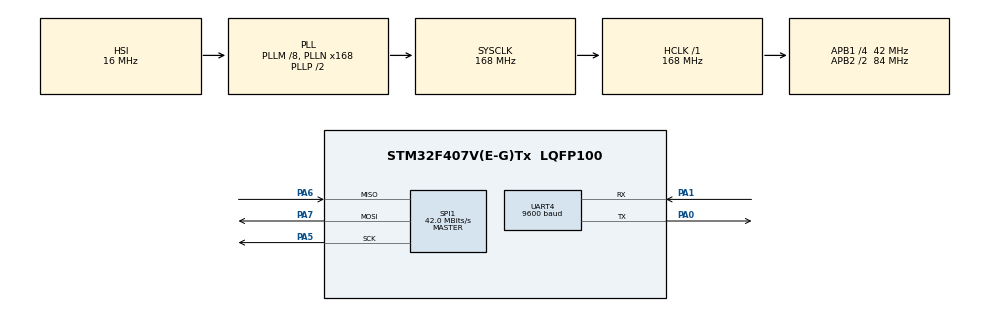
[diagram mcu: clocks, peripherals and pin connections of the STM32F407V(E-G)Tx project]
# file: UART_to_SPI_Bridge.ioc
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FREERTOS.Queues01=UARTRxQueue,10,msg_t*,0,Dynamic,NULL,NULL;SPIRxQueue,10,msg_t*,0,Dynamic,NULL,NULL
FREERTOS.Tasks01=defaultTask,0,128,StartDefaultTask,Default,NULL,Dynamic,NULL,NULL;UARTHandlerTask,0,256,StartUARTHandlerTask,Default,NULL,Dynamic,NULL,NULL;SPIHandlerTask,0,256,StartSPIHandlerTask,Default,NULL,Dynamic,NULL,NULL
FREERTOS.configUSE_NEWLIB_REENTRANT=1
Mcu.Family=STM32F4
Mcu.Name=STM32F407V(E-G)Tx
Mcu.Package=LQFP100
NVIC.PriorityGroup=NVIC_PRIORITYGROUP_4
NVIC.SPI1_IRQn=true\:5\:0\:false\:false\:true\:true\:true\:true\:true
NVIC.TIM6_DAC_IRQn=true\:15\:0\:false\:false\:true\:false\:false\:true\:true
NVIC.TimeBase=TIM6_DAC_IRQn
NVIC.TimeBaseIP=TIM6
NVIC.UART4_IRQn=true\:5\:0\:false\:false\:true\:true\:true\:true\:true
PA0-WKUP.Mode=Asynchronous
PA0-WKUP.Signal=UART4_TX
PA1.Mode=Asynchronous
PA1.Signal=UART4_RX
PA13.Mode=Serial_Wire
PA13.Signal=SYS_JTMS-SWDIO
PA14.Mode=Serial_Wire
PA14.Signal=SYS_JTCK-SWCLK
PA5.Mode=Full_Duplex_Master
PA5.Signal=SPI1_SCK
PA6.Mode=Full_Duplex_Master
PA6.Signal=SPI1_MISO
PA7.Mode=Full_Duplex_Master
PA7.Signal=SPI1_MOSI
ProjectManager.HeapSize=0x2000
ProjectManager.StackSize=0x4000
ProjectManager.TargetToolchain=STM32CubeIDE
RCC.48MHZClocksFreq_Value=84000000
RCC.AHBFreq_Value=168000000
RCC.APB1CLKDivider=RCC_HCLK_DIV4
RCC.APB1Freq_Value=42000000
RCC.APB1TimFreq_Value=84000000
RCC.APB2CLKDivider=RCC_HCLK_DIV2
RCC.APB2Freq_Value=84000000
RCC.APB2TimFreq_Value=168000000
RCC.CortexFreq_Value=168000000
RCC.HCLKFreq_Value=168000000
RCC.HSE_VALUE=25000000
RCC.HSI_VALUE=16000000
RCC.LSE_VALUE=32768
RCC.PLLM=8
RCC.PLLN=168
RCC.SYSCLKFreq_VALUE=168000000
RCC.SYSCLKSource=RCC_SYSCLKSOURCE_PLLCLK
RCC.VCOOutputFreq_Value=336000000
SPI1.CalculateBaudRate=42.0 MBits/s
SPI1.Direction=SPI_DIRECTION_2LINES
SPI1.Mode=SPI_MODE_MASTER
SPI1.VirtualType=VM_MASTER
UART4.BaudRate=9600
UART4.VirtualMode=Asynchronous
VP_FREERTOS_VS_CMSIS_V1.Mode=CMSIS_V1
VP_SYS_VS_tim6.Mode=TIM6
board=custom

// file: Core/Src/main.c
/* USER CODE BEGIN Header */
/**
  ******************************************************************************
  * @file           : main.c
  * @brief          : Main program body
  ******************************************************************************
  * @attention
  *
  * Copyright (c) 2024 STMicroelectronics.
  * All rights reserved.
  *
  * This software is licensed under terms that can be found in the LICENSE file
  * in the root directory of this software component.
  * If no LICENSE file comes with this software, it is provided AS-IS.
  *
  ******************************************************************************
  */
/* USER CODE END Header */
#include "main.h"
#include "cmsis_os.h"
#include "spi.h"
#include "usart.h"
#include "gpio.h"

/* USER CODE BEGIN Includes */

#include "bridge.h"

/* USER CODE END Includes */

/* USER CODE BEGIN PV */

bridge_t Bridge;

/* USER CODE END PV */

void SystemClock_Config(void);
void MX_FREERTOS_Init(void);

int main(void)
{

  /* MCU Configuration--------------------------------------------------------*/

  /* Reset of all peripherals, Initializes the Flash interface and the Systick. */
  HAL_Init();

  /* Configure the system clock */
  SystemClock_Config();

  /* Initialize all configured peripherals */
  MX_GPIO_Init();
  MX_SPI1_Init();
  MX_UART4_Init();
  /* USER CODE BEGIN 2 */

  bridgeInit(&Bridge, 5000);

  HAL_UART_Receive_IT(&huart4, Bridge.uart_rx_msg->data, 1);
  HAL_SPI_TransmitReceive_IT(&hspi1, Bridge.spi_tx_msg->data, Bridge.spi_rx_msg->data, 1);

  /* USER CODE END 2 */

  /* Call init function for freertos objects (in freertos.c) */
  MX_FREERTOS_Init();

  /* Start scheduler */
  osKernelStart();

  /* We should never get here as control is now taken by the scheduler */
  /* Infinite loop */
  while (1)
  {

  }
}

void SystemClock_Config(void)
{
  RCC_OscInitTypeDef RCC_OscInitStruct = {0};
  RCC_ClkInitTypeDef RCC_ClkInitStruct = {0};

  /** Configure the main internal regulator output voltage
  */
  __HAL_RCC_PWR_CLK_ENABLE();
  __HAL_PWR_VOLTAGESCALING_CONFIG(PWR_REGULATOR_VOLTAGE_SCALE1);

  /** Initializes the RCC Oscillators according to the specified parameters
  * in the RCC_OscInitTypeDef structure.
  */
  RCC_OscInitStruct.OscillatorType = RCC_OSCILLATORTYPE_HSI;
  RCC_OscInitStruct.HSIState = RCC_HSI_ON;
  RCC_OscInitStruct.HSICalibrationValue = RCC_HSICALIBRATION_DEFAULT;
  RCC_OscInitStruct.PLL.PLLState = RCC_PLL_ON;
  RCC_OscInitStruct.PLL.PLLSource = RCC_PLLSOURCE_HSI;
  RCC_OscInitStruct.PLL.PLLM = 8;
  RCC_OscInitStruct.PLL.PLLN = 168;
  RCC_OscInitStruct.PLL.PLLP = RCC_PLLP_DIV2;
  RCC_OscInitStruct.PLL.PLLQ = 4;
  if (HAL_RCC_OscConfig(&RCC_OscInitStruct) != HAL_OK)
  {
    Error_Handler();
  }

  /** Initializes the CPU, AHB and APB buses clocks
  */
  RCC_ClkInitStruct.ClockType = RCC_CLOCKTYPE_HCLK|RCC_CLOCKTYPE_SYSCLK
                              |RCC_CLOCKTYPE_PCLK1|RCC_CLOCKTYPE_PCLK2;
  RCC_ClkInitStruct.SYSCLKSource = RCC_SYSCLKSOURCE_PLLCLK;
  RCC_ClkInitStruct.AHBCLKDivider = RCC_SYSCLK_DIV1;
  RCC_ClkInitStruct.APB1CLKDivider = RCC_HCLK_DIV4;
  RCC_ClkInitStruct.APB2CLKDivider = RCC_HCLK_DIV2;

  if (HAL_RCC_ClockConfig(&RCC_ClkInitStruct, FLASH_LATENCY_5) != HAL_OK)
  {
    Error_Handler();
  }
}

void HAL_TIM_PeriodElapsedCallback(TIM_HandleTypeDef *htim)
{
  if (htim->Instance == TIM6) {
    HAL_IncTick();
  }
}

void Error_Handler(void)
{
  __disable_irq();
  while (1)
  {
  }
}

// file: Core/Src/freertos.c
/* USER CODE BEGIN Header */
/**
  ******************************************************************************
  * File Name          : freertos.c
  * Description        : Code for freertos applications
  ******************************************************************************
  * @attention
  *
  * Copyright (c) 2024 STMicroelectronics.
  * All rights reserved.
  *
  * This software is licensed under terms that can be found in the LICENSE file
  * in the root directory of this software component.
  * If no LICENSE file comes with this software, it is provided AS-IS.
  *
  ******************************************************************************
  */
/* USER CODE END Header */

#include "FreeRTOS.h"
#include "task.h"
#include "main.h"
#include "cmsis_os.h"

/* USER CODE BEGIN Includes */

#include "bridge.h"

/* USER CODE END Includes */

/* USER CODE BEGIN PTD */

extern bridge_t Bridge;
extern UART_HandleTypeDef huart4;
extern SPI_HandleTypeDef hspi1;

/* USER CODE END PTD */

osThreadId defaultTaskHandle;
osThreadId UARTHandlerTaskHandle;
osThreadId SPIHandlerTaskHandle;
osMessageQId UARTRxQueueHandle;
osMessageQId SPIRxQueueHandle;

void StartDefaultTask(void const * argument);
void StartUARTHandlerTask(void const * argument);
void StartSPIHandlerTask(void const * argument);

void MX_FREERTOS_Init(void); /* (MISRA C 2004 rule 8.1) */

/* GetIdleTaskMemory prototype (linked to static allocation support) */
void vApplicationGetIdleTaskMemory( StaticTask_t **ppxIdleTaskTCBBuffer, StackType_t **ppxIdleTaskStackBuffer, uint32_t *pulIdleTaskStackSize );

/* USER CODE BEGIN GET_IDLE_TASK_MEMORY */
static StaticTask_t xIdleTaskTCBBuffer;
static StackType_t xIdleStack[configMINIMAL_STACK_SIZE];

void vApplicationGetIdleTaskMemory( StaticTask_t **ppxIdleTaskTCBBuffer, StackType_t **ppxIdleTaskStackBuffer, uint32_t *pulIdleTaskStackSize )
{
  *ppxIdleTaskTCBBuffer = &xIdleTaskTCBBuffer;
  *ppxIdleTaskStackBuffer = &xIdleStack[0];
  *pulIdleTaskStackSize = configMINIMAL_STACK_SIZE;
  /* place for user code */
}
/* USER CODE END GET_IDLE_TASK_MEMORY */

void MX_FREERTOS_Init(void) {

  /* Create the queue(s) */
  /* definition and creation of UARTRxQueue */
  osMessageQDef(UARTRxQueue, 10, msg_t*);
  UARTRxQueueHandle = osMessageCreate(osMessageQ(UARTRxQueue), NULL);

  /* definition and creation of SPIRxQueue */
  osMessageQDef(SPIRxQueue, 10, msg_t*);
  SPIRxQueueHandle = osMessageCreate(osMessageQ(SPIRxQueue), NULL);

  /* Create the thread(s) */
  /* definition and creation of defaultTask */
  osThreadDef(defaultTask, StartDefaultTask, osPriorityNormal, 0, 128);
  defaultTaskHandle = osThreadCreate(osThread(defaultTask), NULL);

  /* definition and creation of UARTHandlerTask */
  osThreadDef(UARTHandlerTask, StartUARTHandlerTask, osPriorityNormal, 0, 256);
  UARTHandlerTaskHandle = osThreadCreate(osThread(UARTHandlerTask), NULL);

  /* definition and creation of SPIHandlerTask */
  osThreadDef(SPIHandlerTask, StartSPIHandlerTask, osPriorityNormal, 0, 256);
  SPIHandlerTaskHandle = osThreadCreate(osThread(SPIHandlerTask), NULL);

}

void StartDefaultTask(void const * argument)
{
  for(;;)
  {
    osDelay(1);
  }
}

void StartUARTHandlerTask(void const * argument)
{
  /* USER CODE BEGIN StartUARTHandlerTask */

  /* Infinite loop */
  for(;;)
  {
	  if( xQueueReceive(SPIRxQueueHandle, &Bridge.uart_tx_msg, portMAX_DELAY) )
	  {
		  if( HAL_UART_STATE_BUSY_TX != HAL_UART_GetState(&huart4) )
		  {
			  HAL_UART_Transmit_IT(&huart4, Bridge.uart_tx_msg->data, Bridge.uart_tx_msg->size);
		  }
	  }

    osDelay(1);
  }
  /* USER CODE END StartUARTHandlerTask */
}

void StartSPIHandlerTask(void const * argument)
{
  /* USER CODE BEGIN StartSPIHandlerTask */
  /* Infinite loop */
  for(;;)
  {
	  //tx empty
	  if(Bridge.spi_tx_msg == Bridge.no_data_msg)
	  {
		  xQueueReceive(UARTRxQueueHandle, &Bridge.spi_tx_msg, portMAX_DELAY);	//get new tx msg
	  }

    osDelay(1);
  }
  /* USER CODE END StartSPIHandlerTask */
}

/* USER CODE BEGIN Application */

void HAL_SPI_TxRxCpltCallback(SPI_HandleTypeDef *hspi)
{
	if(&hspi1 == hspi)
	{

		//push into queue receded message
		msg_t *message = SPIRxByteHandler(&Bridge);
		if(message)
		{
			xQueueSendFromISR(SPIRxQueueHandle, &message, pdFALSE);
		}

		//rx tx next byte
		HAL_SPI_TransmitReceive_IT(&hspi1,
								&(Bridge.spi_tx_msg->data[Bridge.spi_tx_msg->tx_index]),
								&(Bridge.spi_rx_msg->data[Bridge.spi_rx_msg->size]),
								1);
	}
}

void HAL_UART_TxCpltCallback(UART_HandleTypeDef *huart)
{
	freeMsgPtr(Bridge.uart_tx_msg);	//tx done - destroy msg
}

void HAL_UART_RxCpltCallback(UART_HandleTypeDef *huart)
{
	if(huart == &huart4)
	{
		//push into queue receded message
		msg_t *message = UARTRxByteHandler(&Bridge);
		if(message)
		{
			xQueueSendFromISR(UARTRxQueueHandle, &message, pdFALSE);
		}

		HAL_UART_Receive_IT(&huart4, &(Bridge.uart_rx_msg->data[Bridge.uart_rx_msg->size]), 1);
	}
}

/* USER CODE END Application */
